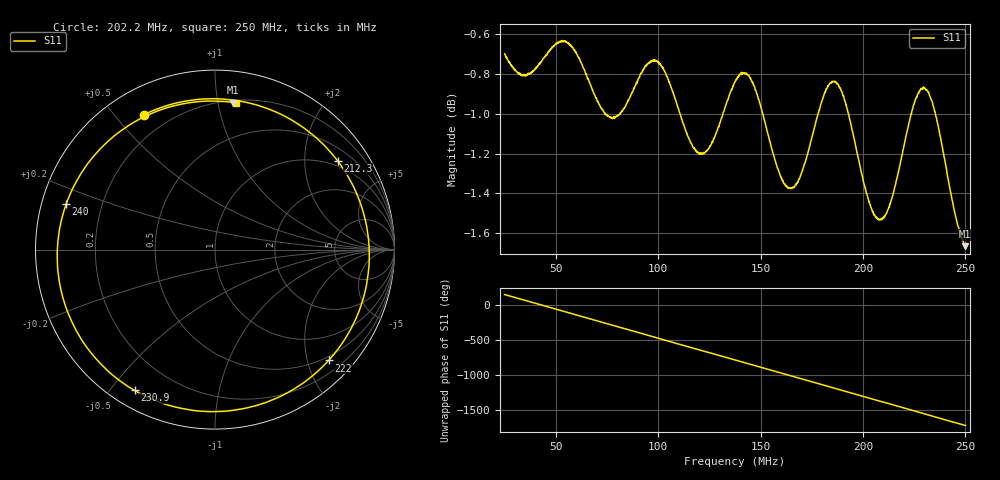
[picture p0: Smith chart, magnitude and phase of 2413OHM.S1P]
!Agilent Technologies,E5071C,MY46214392,A.11.36
!Date: Fri Apr 24 10:03:42 2026
!Data & Calibration Information:
!Freq	S11:SOLT1(ON)
!PortZ  Port1:50+j0
!Above PortZ is port z conversion or system Z0 setting when saving the data.
!When reading, reference impedance value at option line is always used.
# Hz S RI R 50
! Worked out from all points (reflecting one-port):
!   1601 points, 25 MHz to 250 MHz, reference 50 ohm
!   lowest |S11| = -1.7 dB at 249.9 MHz (marker M1), VSWR 10.47, Z = 10.7 + j55.3 ohm
!   phase of S11 starts at 151 deg and turns -1869 deg over the sweep
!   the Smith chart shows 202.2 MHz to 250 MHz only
!   S11 on the Smith chart (normalised r, x): 202.2 MHz: 0.11, +0.60; 212.3 MHz: 0.84, +2.87; 222 MHz: 0.42, -2.40; 230.9 MHz: 0.07, -0.58; 240 MHz: 0.07, +0.15; 250 MHz: 0.22, +1.13
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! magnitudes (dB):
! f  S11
! 25 MHz  -0.7
! 35.83 MHz  -0.8
! 53.12 MHz  -0.6
! 60.3 MHz  -0.7
! 73.52 MHz  -1.0
! 81.25 MHz  -1.0
! 97.7 MHz  -0.7
! 109.4 MHz  -1.0
! 116.3 MHz  -1.2
! 122.2 MHz  -1.2
! 137.5 MHz  -0.8
! 145.2 MHz  -0.8
! 159.3 MHz  -1.3
! 165.6 MHz  -1.4
! 183.8 MHz  -0.8
! 188.5 MHz  -0.9
! 193.8 MHz  -1.0
! 202.2 MHz  -1.4
! 207.2 MHz  -1.5
! 212.3 MHz  -1.5
! 221.9 MHz  -1.1
! 222 MHz  -1.1
! 226.7 MHz  -0.9
! 230.9 MHz  -0.9
! 240 MHz  -1.2
! 245.4 MHz  -1.5
! 249.9 MHz  -1.7
! 250 MHz  -1.7
